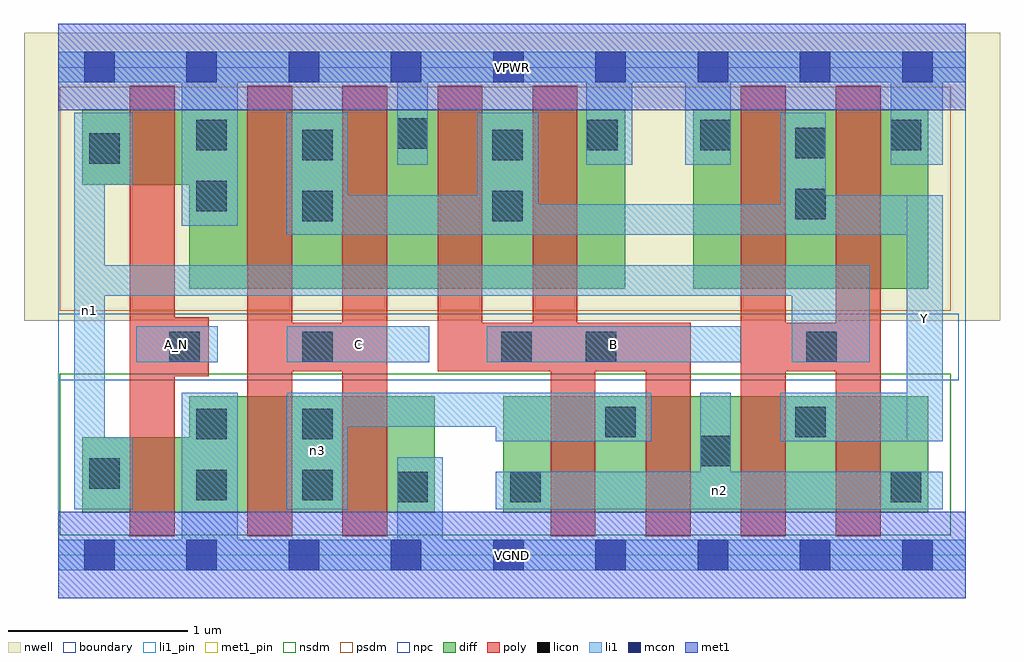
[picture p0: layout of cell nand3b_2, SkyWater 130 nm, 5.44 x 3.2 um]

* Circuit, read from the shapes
.subckt nand3b_2 A_N B C VGND VPWR Y n1 n2 n3
XM1 VGND A_N n1 VSUBS sky130_fd_pr__nfet_01v8 w=0.42 l=0.25
XM2 n3 C VGND VSUBS sky130_fd_pr__nfet_01v8 w=0.65 l=0.25 m=2
XM3 n3 B n2 VSUBS sky130_fd_pr__nfet_01v8 w=0.65 l=0.25 m=2
XM4 Y n1 n2 VSUBS sky130_fd_pr__nfet_01v8 w=0.65 l=0.25 m=2
XM5 VPWR A_N n1 n4 sky130_fd_pr__pfet_01v8 w=0.42 l=0.25
XM6 Y C VPWR n4 sky130_fd_pr__pfet_01v8 w=1 l=0.25 m=2
XM7 Y B VPWR n4 sky130_fd_pr__pfet_01v8 w=1 l=0.25 m=2
XM8 Y n1 VPWR n4 sky130_fd_pr__pfet_01v8 w=1 l=0.25 m=2
.ends

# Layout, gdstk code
import gdstk
lib = gdstk.Library(unit=1e-6, precision=1e-09)
def R(c, l, rs):  # rectangles x0, y0, x1, y1
    for r in rs: c.add(gdstk.rectangle(r[:2], r[2:], *l))
def A(c, l, x, y, w, h, nx, ny, dx, dy):  # array of equal rectangles
    R(c, l, [(x+i*dx, y+j*dy, x+i*dx+w, y+j*dy+h) for i in range(nx) for j in range(ny)])
nwell = (64, 20)
diff = (65, 20)
poly = (66, 20)
licon = (66, 44)
li1_pin = (67, 16)
li1 = (67, 20)
mcon = (67, 44)
met1_pin = (68, 16)
met1 = (68, 20)
nsdm = (93, 44)
psdm = (94, 20)
npc = (95, 20)
boundary = (235, 4)

nand3b_2 = lib.new_cell('nand3b_2')
R(nand3b_2, nwell, [(-0.19,1.305,5.25,2.91), (0,1.305,5.06,2.91)])
R(nand3b_2, diff, [(0.135,0.235,2.1,0.655), (0.73,0.235,2.1,0.885), (2.48,0.235,4.85,0.885), (0.73,1.485,3.16,2.485), (3.54,1.485,4.85,2.485), (0.135,2.065,3.16,2.485)])
R(nand3b_2, poly, [(0.4,0.105,0.65,2.615), (1.055,0.105,1.305,2.615), (1.585,0.105,1.835,2.615), (2.745,0.105,2.995,1.295), (3.275,0.105,3.525,1.295), (3.805,0.105,4.055,2.615), (4.335,0.105,4.585,2.615), (0.4,0.995,0.84,1.325), (1.055,1.025,1.835,1.295), (2.115,1.025,3.525,1.295), (2.115,1.025,2.365,2.615), (2.645,1.025,2.895,2.615), (3.805,1.025,4.585,1.295)])
R(nand3b_2, licon, [(1.89,0.295,2.06,0.465), (2.52,0.295,2.69,0.465), (4.64,0.295,4.81,0.465), (0.77,0.305,0.94,0.475), (1.36,0.305,1.53,0.475), (0.175,0.37,0.345,0.54), (3.58,0.495,3.75,0.665), (0.77,0.645,0.94,0.815), (1.36,0.645,1.53,0.815), (3.05,0.655,3.22,0.825), (4.11,0.655,4.28,0.825), (0.62,1.075,0.79,1.245), (1.36,1.075,1.53,1.245), (2.47,1.075,2.64,1.245), (2.94,1.075,3.11,1.245), (4.17,1.075,4.34,1.245), (1.36,1.86,1.53,2.03), (2.42,1.86,2.59,2.03), (4.11,1.87,4.28,2.04), (0.77,1.915,0.94,2.085), (0.175,2.18,0.345,2.35), (1.36,2.2,1.53,2.37), (2.42,2.2,2.59,2.37), (4.11,2.21,4.28,2.38), (0.77,2.255,0.94,2.425), (2.95,2.255,3.12,2.425), (3.58,2.255,3.75,2.425), (4.64,2.255,4.81,2.425), (1.89,2.265,2.06,2.435)])
R(nand3b_2, li1_pin, [(4.73,0.635,4.93,2.005), (0.435,1.075,0.89,1.275), (1.275,1.075,2.07,1.275), (2.39,1.075,3.805,1.275)])
R(nand3b_2, li1, [(0,-0.085,5.06,0.085), (0.69,-0.085,1,0.905), (1.89,-0.085,2.145,0.545), (0.09,0.255,0.26,2.465), (0.09,0.255,0.415,0.655), (1.275,0.255,1.615,0.905), (2.44,0.255,4.93,0.465), (3.58,0.255,3.75,0.905), (2.44,0.635,3.305,0.905), (4.025,0.635,4.93,0.905), (4.73,0.635,4.93,2.005), (1.275,0.715,3.305,0.905), (0.435,1.075,0.89,1.275), (1.275,1.075,2.07,1.275), (2.39,1.075,3.805,1.275), (4.09,1.075,4.525,1.615), (0.09,1.445,4.525,1.615), (1.275,1.785,4.93,1.955), (1.275,1.785,1.615,2.465), (1.275,1.785,2.675,2.005), (2.335,1.785,2.675,2.465), (4.025,1.785,4.28,2.465), (4.025,1.785,4.93,2.005), (0.69,1.835,1,2.805), (0.09,2.065,0.415,2.465), (1.89,2.175,2.06,2.805), (2.945,2.175,3.2,2.805), (3.495,2.175,3.75,2.805), (4.64,2.175,4.93,2.805), (0,2.635,5.06,2.805)])
A(nand3b_2, mcon, 0.145, -0.085, 0.17, 0.17, 9, 2, 0.57, 2.72)
R(nand3b_2, met1_pin, [(0,-0.24,5.06,0.24), (0,2.48,5.06,2.96)])
R(nand3b_2, met1, [(0,-0.24,5.06,0.24), (0,2.48,5.06,2.96)])
R(nand3b_2, nsdm, [(0.01,0.11,4.975,1.01)])
R(nand3b_2, psdm, [(0.01,1.36,4.975,2.61)])
R(nand3b_2, npc, [(0,0.975,5.02,1.345)])
R(nand3b_2, boundary, [(0,0,5.06,2.72)])
nand3b_2.add(gdstk.Label('A_N', (0.662,1.175), layer=67, texttype=5))
nand3b_2.add(gdstk.Label('B', (3.097,1.175), layer=67, texttype=5))
nand3b_2.add(gdstk.Label('C', (1.672,1.175), layer=67, texttype=5))
nand3b_2.add(gdstk.Label('Y', (4.83,1.32), layer=67, texttype=5))
nand3b_2.add(gdstk.Label('n3', (1.445,0.58), layer=67, texttype=5))
nand3b_2.add(gdstk.Label('n2', (3.685,0.36), layer=67, texttype=5))
nand3b_2.add(gdstk.Label('n1', (0.175,1.36), layer=67, texttype=5))
nand3b_2.add(gdstk.Label('VPWR', (2.53,2.72), layer=68, texttype=5))
nand3b_2.add(gdstk.Label('VGND', (2.53,0), layer=68, texttype=5))
nand3b_2.add(gdstk.Label('A_N', (0.662,1.175), layer=67, texttype=16))
nand3b_2.add(gdstk.Label('B', (3.097,1.175), layer=67, texttype=16))
nand3b_2.add(gdstk.Label('C', (1.672,1.175), layer=67, texttype=16))
nand3b_2.add(gdstk.Label('Y', (4.83,1.32), layer=67, texttype=16))
nand3b_2.add(gdstk.Label('VPWR', (2.53,2.72), layer=68, texttype=16))
nand3b_2.add(gdstk.Label('VGND', (2.53,0), layer=68, texttype=16))

lib.write_gds('nand3b_2.gds')
